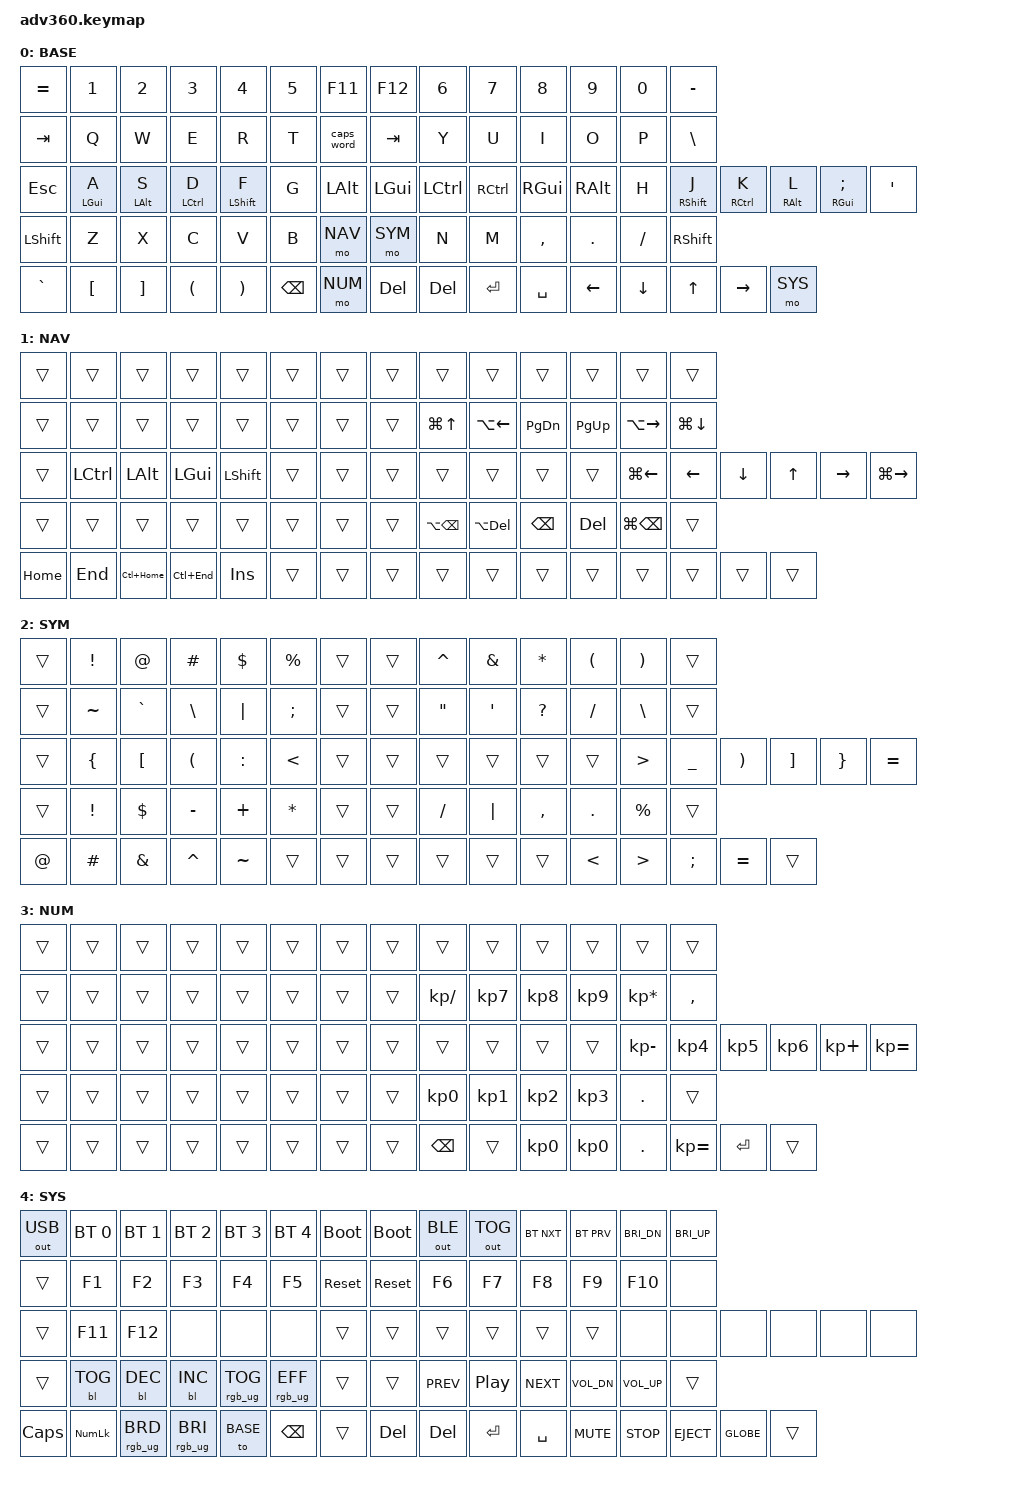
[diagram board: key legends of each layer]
/* Advantage360 Pro daily driver. Physical US QWERTY; host selects ABC or Czech.
 * BASE uses fast-typing-biased bilateral home-row mods; dedicated modifiers remain.
 * Layers are immediate holds: SYS > NUM > SYM > NAV > BASE.
 * Thumb NUM uses the large left Delete position (66); Delete moves to 67/68.
 */
#include <behaviors.dtsi>
#include <dt-bindings/zmk/backlight.h>
#include <dt-bindings/zmk/bt.h>
#include <dt-bindings/zmk/keys.h>
#include <dt-bindings/zmk/outputs.h>
#include <dt-bindings/zmk/rgb.h>
#include "macros.dtsi"

#define BASE 0
#define NAV  1
#define SYM  2
#define NUM  3
#define SYS  4
#define KEYS_L  0 1 2 3 4 5 6 14 15 16 17 18 19 20 28 29 30 31 32 33 34 46 47 48 49 50 51 60 61 62 63 64
#define KEYS_R  7 8 9 10 11 12 13 21 22 23 24 25 26 27 39 40 41 42 43 44 45 54 55 56 57 58 59 71 72 73 74 75
#define THUMBS 35 36 37 38 52 53 65 66 67 68 69 70

// Fast-typing-biased "timeless" HRMs. 150 ms prior-idle resolves rapid typing
// immediately as taps; positional triggers keep same-hand rolls as letters.
#define HRM_TAPPING_TERM_MS 280
#define HRM_QUICK_TAP_MS 175
#define HRM_PRIOR_IDLE_MS 150

// The pinned Caps Word only auto-continues number-row digits; add keypad digits.
&caps_word {
    continue-list = <UNDERSCORE BACKSPACE DELETE KP_N0 KP_N1 KP_N2 KP_N3
                     KP_N4 KP_N5 KP_N6 KP_N7 KP_N8 KP_N9>;
};

/ {
    behaviors {
        hml: home_row_mod_left {
            compatible = "zmk,behavior-hold-tap";
            #binding-cells = <2>;
            flavor = "balanced";
            tapping-term-ms = <HRM_TAPPING_TERM_MS>;
            quick-tap-ms = <HRM_QUICK_TAP_MS>;
            require-prior-idle-ms = <HRM_PRIOR_IDLE_MS>;
            bindings = <&kp>, <&kp>;
            hold-trigger-key-positions = <KEYS_R THUMBS>;
            hold-trigger-on-release;
        };

        hmr: home_row_mod_right {
            compatible = "zmk,behavior-hold-tap";
            #binding-cells = <2>;
            flavor = "balanced";
            tapping-term-ms = <HRM_TAPPING_TERM_MS>;
            quick-tap-ms = <HRM_QUICK_TAP_MS>;
            require-prior-idle-ms = <HRM_PRIOR_IDLE_MS>;
            bindings = <&kp>, <&kp>;
            hold-trigger-key-positions = <KEYS_L THUMBS>;
            hold-trigger-on-release;
        };
    };

    combos {
        compatible = "zmk,combos";
        // Hold SYS, then both outer number-row keys. Clears ONLY selected host bond.
        combo_bt_clear {
            timeout-ms = <150>;
            // Refuse to arm during recent text entry; intentional maintenance should follow a pause.
            require-prior-idle-ms = <300>;
            key-positions = <0 13>;
            layers = <SYS>;
            bindings = <&bt BT_CLR>;
        };
    };
    keymap {
        compatible = "zmk,keymap";

        // BASE HRMs: ASDF = Cmd/Option/Ctrl/Shift; JKL; = Shift/Ctrl/Option/Cmd.
        // Dedicated thumb/inner modifiers remain for immediate or same-hand chords.
        layer_base {
            display-name = "BASE";
            bindings = <
                &kp EQUAL           &kp N1              &kp N2              &kp N3              &kp N4              &kp N5              &kp F11             &kp F12             &kp N6              &kp N7              &kp N8              &kp N9              &kp N0              &kp MINUS
                &kp TAB             &kp Q               &kp W               &kp E               &kp R               &kp T               &caps_word          &kp TAB             &kp Y               &kp U               &kp I               &kp O               &kp P               &kp BSLH
                &kp ESC             &hml LGUI A          &hml LALT S          &hml LCTRL D         &hml LSHFT F         &kp G               &kp LALT            &kp LGUI            &kp LCTRL           &kp RCTRL           &kp RGUI            &kp RALT            &kp H               &hmr RSHFT J         &hmr RCTRL K         &hmr RALT L          &hmr RGUI SEMI       &kp SQT
                &kp LSHFT           &kp Z               &kp X               &kp C               &kp V               &kp B               &mo NAV             &mo SYM             &kp N               &kp M               &kp COMMA           &kp DOT             &kp FSLH            &kp RSHFT
                &kp GRAVE           &kp LBKT            &kp RBKT            &kp LPAR            &kp RPAR            &kp BSPC            &mo NUM             &kp DEL             &kp DEL             &kp ENTER           &kp SPACE           &kp LEFT            &kp DOWN            &kp UP              &kp RIGHT           &mo SYS
            >;
        };

        // NAV is a primitive layer, not an application-shortcut bank.
        // ASDF = Ctrl / Option / Command / Shift. JKL; = Left / Down / Up / Right.
        // H / quote, U / P and Y / backslash add macOS line, word and document motion.
        layer_nav {
            display-name = "NAV";
            bindings = <
                &trans              &trans              &trans              &trans              &trans              &trans              &trans              &trans              &trans              &trans              &trans              &trans              &trans              &trans
                &trans              &trans              &trans              &trans              &trans              &trans              &trans              &trans              &kp LG(UP)          &kp LA(LEFT)        &kp PG_DN           &kp PG_UP           &kp LA(RIGHT)       &kp LG(DOWN)
                &trans              &kp LCTRL           &kp LALT            &kp LGUI            &kp LSHFT           &trans              &trans              &trans              &trans              &trans              &trans              &trans              &kp LG(LEFT)        &kp LEFT            &kp DOWN            &kp UP              &kp RIGHT           &kp LG(RIGHT)
                &trans              &trans              &trans              &trans              &trans              &trans              &trans              &trans              &kp LA(BSPC)        &kp LA(DEL)         &kp BSPC            &kp DEL             &kp LG(BSPC)        &trans
                &kp HOME            &kp END             &kp LC(HOME)        &kp LC(END)         &kp INS             &trans              &trans              &trans              &trans              &trans              &trans              &trans              &trans              &trans              &trans              &trans
            >;
        };

        // ABC/US symbols, individual repeatable keypresses; no text macros.
        layer_sym {
            display-name = "SYM";
            bindings = <
                &trans              &kp EXCL            &kp AT              &kp HASH            &kp DLLR            &kp PRCNT           &trans              &trans              &kp CARET           &kp AMPS            &kp ASTRK           &kp LPAR            &kp RPAR            &trans
                &trans              &kp TILDE           &kp GRAVE           &kp BSLH            &kp PIPE            &kp SEMI            &trans              &trans              &kp DQT             &kp SQT             &kp QMARK           &kp FSLH            &kp BSLH            &trans
                &trans              &kp LBRC            &kp LBKT            &kp LPAR            &kp COLON           &kp LT              &trans              &trans              &trans              &trans              &trans              &trans              &kp GT              &kp UNDER           &kp RPAR            &kp RBKT            &kp RBRC            &kp EQUAL
                &trans              &kp EXCL            &kp DLLR            &kp MINUS           &kp PLUS            &kp ASTRK           &trans              &trans              &kp FSLH            &kp PIPE            &kp COMMA           &kp DOT             &kp PRCNT           &trans
                &kp AT              &kp HASH            &kp AMPS            &kp CARET           &kp TILDE           &trans              &trans              &trans              &trans              &trans              &trans              &kp LT              &kp GT              &kp SEMI            &kp EQUAL           &trans
            >;
        };

        // Physical UIO / JKL / M,. grid. Keypad digits/operators; ordinary dot/comma.
        layer_num {
            display-name = "NUM";
            bindings = <
                &trans              &trans              &trans              &trans              &trans              &trans              &trans              &trans              &trans              &trans              &trans              &trans              &trans              &trans
                &trans              &trans              &trans              &trans              &trans              &trans              &trans              &trans              &kp KP_DIVIDE       &kp KP_N7           &kp KP_N8           &kp KP_N9           &kp KP_MULTIPLY     &kp COMMA
                &trans              &trans              &trans              &trans              &trans              &trans              &trans              &trans              &trans              &trans              &trans              &trans              &kp KP_MINUS        &kp KP_N4           &kp KP_N5           &kp KP_N6           &kp KP_PLUS         &kp KP_EQUAL
                &trans              &trans              &trans              &trans              &trans              &trans              &trans              &trans              &kp KP_N0           &kp KP_N1           &kp KP_N2           &kp KP_N3           &kp DOT             &trans
                &trans              &trans              &trans              &trans              &trans              &trans              &trans              &trans              &kp BSPC            &trans              &kp KP_N0           &kp KP_N0           &kp DOT             &kp KP_EQUAL        &kp ENTER           &trans
            >;
        };

        // Hold SYS deliberately. Boot 6 = left, 7 = right; reset 20 = left, 21 = right.
        layer_sys {
            display-name = "SYS";
            bindings = <
                &out OUT_USB        &bt BT_SEL 0        &bt BT_SEL 1        &bt BT_SEL 2        &bt BT_SEL 3        &bt BT_SEL 4        &bootloader         &bootloader         &out OUT_BLE        &out OUT_TOG        &bt BT_NXT          &bt BT_PRV          &kp C_BRI_DN        &kp C_BRI_UP
                &trans              &kp F1              &kp F2              &kp F3              &kp F4              &kp F5              &sys_reset          &sys_reset          &kp F6              &kp F7              &kp F8              &kp F9              &kp F10             &none
                &trans              &kp F11             &kp F12             &none               &none               &none               &trans              &trans              &trans              &trans              &trans              &trans              &none               &none               &none               &none               &none               &none
                &trans              &bl BL_TOG          &bl BL_DEC          &bl BL_INC          &rgb_ug RGB_TOG     &rgb_ug RGB_EFF     &trans              &trans              &kp C_PREV          &kp C_PP            &kp C_NEXT          &kp C_VOL_DN        &kp C_VOL_UP        &trans
                &kp CAPS            &kp KP_NUM          &rgb_ug RGB_BRD     &rgb_ug RGB_BRI     &to BASE            &kp BSPC            &trans              &kp DEL             &kp DEL             &kp ENTER           &kp SPACE           &kp C_MUTE          &kp C_STOP          &kp C_EJECT         &kp GLOBE           &trans
            >;
        };
    };
};
